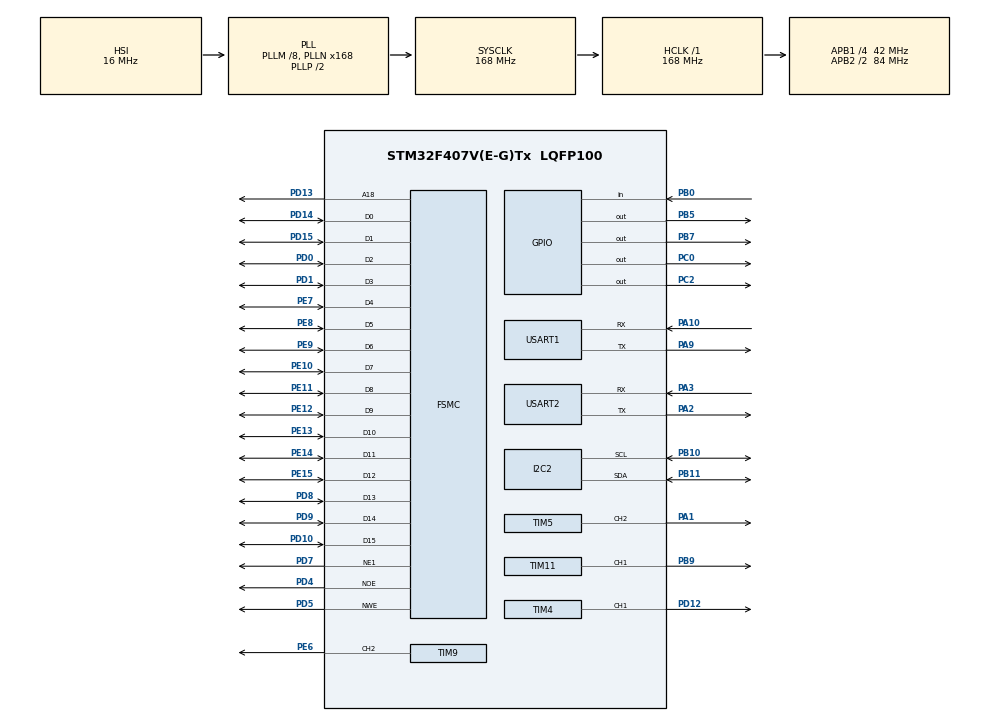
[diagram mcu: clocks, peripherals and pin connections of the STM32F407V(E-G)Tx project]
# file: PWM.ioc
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Dma.Request0=USART2_RX
Dma.Request1=TIM4_CH1
Dma.TIM4_CH1.1.Direction=DMA_MEMORY_TO_PERIPH
Dma.TIM4_CH1.1.FIFOMode=DMA_FIFOMODE_DISABLE
Dma.TIM4_CH1.1.Instance=DMA1_Stream0
Dma.TIM4_CH1.1.MemDataAlignment=DMA_MDATAALIGN_HALFWORD
Dma.TIM4_CH1.1.MemInc=DMA_MINC_ENABLE
Dma.TIM4_CH1.1.Mode=DMA_NORMAL
Dma.TIM4_CH1.1.PeriphDataAlignment=DMA_PDATAALIGN_HALFWORD
Dma.TIM4_CH1.1.PeriphInc=DMA_PINC_DISABLE
Dma.TIM4_CH1.1.Priority=DMA_PRIORITY_MEDIUM
Dma.USART2_RX.0.Direction=DMA_PERIPH_TO_MEMORY
Dma.USART2_RX.0.FIFOMode=DMA_FIFOMODE_DISABLE
Dma.USART2_RX.0.Instance=DMA1_Stream5
Dma.USART2_RX.0.MemDataAlignment=DMA_MDATAALIGN_BYTE
Dma.USART2_RX.0.MemInc=DMA_MINC_ENABLE
Dma.USART2_RX.0.Mode=DMA_NORMAL
Dma.USART2_RX.0.PeriphDataAlignment=DMA_PDATAALIGN_BYTE
Dma.USART2_RX.0.PeriphInc=DMA_PINC_DISABLE
Dma.USART2_RX.0.Priority=DMA_PRIORITY_MEDIUM
FSMC.AddressSetupTime1=2
FSMC.BusTurnAroundDuration1=10
FSMC.DataSetupTime1=10
FSMC.ExtendedAddressSetupTime1=1
FSMC.ExtendedBusTurnAroundDuration1=2
FSMC.ExtendedDataSetupTime1=1
FSMC.ExtendedMode1=FSMC_EXTENDED_MODE_ENABLE
Mcu.Family=STM32F4
Mcu.Name=STM32F407V(E-G)Tx
Mcu.Package=LQFP100
NVIC.DMA1_Stream0_IRQn=true\:0\:0\:false\:false\:true\:false\:true\:true
NVIC.DMA1_Stream5_IRQn=true\:0\:0\:false\:false\:true\:false\:true\:true
NVIC.PriorityGroup=NVIC_PRIORITYGROUP_4
NVIC.TIM2_IRQn=true\:11\:0\:true\:false\:true\:true\:true\:true
NVIC.TIM3_IRQn=true\:15\:0\:true\:false\:true\:true\:true\:true
NVIC.TIM4_IRQn=true\:3\:0\:true\:false\:true\:true\:true\:true
NVIC.TIM8_BRK_TIM12_IRQn=true\:7\:0\:true\:false\:true\:true\:true\:true
NVIC.USART2_IRQn=true\:0\:0\:true\:false\:true\:true\:true\:true
PA1.Signal=S_TIM5_CH2
PA10.Mode=Asynchronous
PA10.Signal=USART1_RX
PA13.Mode=Serial_Wire
PA13.Signal=SYS_JTMS-SWDIO
PA14.Mode=Serial_Wire
PA14.Signal=SYS_JTCK-SWCLK
PA2.Mode=Asynchronous
PA2.Signal=USART2_TX
PA3.Mode=Asynchronous
PA3.Signal=USART2_RX
PA9.Mode=Asynchronous
PA9.Signal=USART1_TX
PB0.GPIO_PuPd=GPIO_PULLDOWN
PB0.Signal=GPIO_Input
PB10.Mode=I2C
PB10.Signal=I2C2_SCL
PB11.Mode=I2C
PB11.Signal=I2C2_SDA
PB5.GPIO_ModeDefaultOutputPP=GPIO_MODE_OUTPUT_PP
PB5.GPIO_PuPd=GPIO_PULLDOWN
PB5.PinState=GPIO_PIN_RESET
PB5.Signal=GPIO_Output
PB7.GPIO_ModeDefaultOutputPP=GPIO_MODE_OUTPUT_PP
PB7.GPIO_PuPd=GPIO_PULLUP
PB7.PinState=GPIO_PIN_SET
PB7.Signal=GPIO_Output
PB9.Signal=S_TIM11_CH1
PC0.GPIO_PuPd=GPIO_PULLUP
PC0.PinState=GPIO_PIN_SET
PC0.Signal=GPIO_Output
PC14-OSC32_IN.Mode=LSE-External-Oscillator
PC14-OSC32_IN.Signal=RCC_OSC32_IN
PC15-OSC32_OUT.Mode=LSE-External-Oscillator
PC15-OSC32_OUT.Signal=RCC_OSC32_OUT
PC2.GPIO_PuPd=GPIO_PULLDOWN
PC2.PinState=GPIO_PIN_RESET
PC2.Signal=GPIO_Output
PD0.Mode=16b-d1
PD0.Signal=FSMC_D2
PD1.Mode=16b-d1
PD1.Signal=FSMC_D3
PD10.Mode=16b-d1
PD10.Signal=FSMC_D15
PD12.Signal=S_TIM4_CH1
PD13.Mode=A18_1
PD13.Signal=FSMC_A18
PD14.Mode=16b-d1
PD14.Signal=FSMC_D0
PD15.Mode=16b-d1
PD15.Signal=FSMC_D1
PD4.Mode=Lcd1
PD4.Signal=FSMC_NOE
PD5.Mode=Lcd1
PD5.Signal=FSMC_NWE
PD7.Mode=NorPsramChipSelect1_1
PD7.Signal=FSMC_NE1
PD8.Mode=16b-d1
PD8.Signal=FSMC_D13
PD9.Mode=16b-d1
PD9.Signal=FSMC_D14
PE10.Mode=16b-d1
PE10.Signal=FSMC_D7
PE11.Mode=16b-d1
PE11.Signal=FSMC_D8
PE12.Mode=16b-d1
PE12.Signal=FSMC_D9
PE13.Mode=16b-d1
PE13.Signal=FSMC_D10
PE14.Mode=16b-d1
PE14.Signal=FSMC_D11
PE15.Mode=16b-d1
PE15.Signal=FSMC_D12
PE6.Signal=S_TIM9_CH2
PE7.Mode=16b-d1
PE7.Signal=FSMC_D4
PE8.Mode=16b-d1
PE8.Signal=FSMC_D5
PE9.Mode=16b-d1
PE9.Signal=FSMC_D6
PH0-OSC_IN.Mode=HSE-External-Oscillator
PH0-OSC_IN.Signal=RCC_OSC_IN
PH1-OSC_OUT.Mode=HSE-External-Oscillator
PH1-OSC_OUT.Signal=RCC_OSC_OUT
ProjectManager.HeapSize=0x2000
ProjectManager.StackSize=0x2000
ProjectManager.TargetToolchain=MDK-ARM V5
RCC.48MHZClocksFreq_Value=84000000
RCC.AHBFreq_Value=168000000
RCC.APB1CLKDivider=RCC_HCLK_DIV4
RCC.APB1Freq_Value=42000000
RCC.APB1TimFreq_Value=84000000
RCC.APB2CLKDivider=RCC_HCLK_DIV2
RCC.APB2Freq_Value=84000000
RCC.APB2TimFreq_Value=168000000
RCC.CortexFreq_Value=168000000
RCC.HCLKFreq_Value=168000000
RCC.HSE_VALUE=25000000
RCC.HSI_VALUE=16000000
RCC.PLLM=8
RCC.PLLN=168
RCC.RCC_RTC_Clock_Source=RCC_RTCCLKSOURCE_LSE
RCC.RCC_RTC_Clock_SourceVirtual=RCC_RTCCLKSOURCE_LSE
RCC.SYSCLKFreq_VALUE=168000000
RCC.SYSCLKSource=RCC_SYSCLKSOURCE_PLLCLK
RCC.VCOOutputFreq_Value=336000000
RTC.Date=29
RTC.Hours=18
RTC.Minutes=30
RTC.Month=RTC_MONTH_MAY
RTC.WakeUpClock=RTC_WAKEUPCLOCK_CK_SPRE_16BITS
RTC.WakeUpCounter=0
RTC.WeekDay=RTC_WEEKDAY_WEDNESDAY
RTC.Year=24
SH.S_TIM11_CH1.0=TIM11_CH1,PWM Generation1 CH1
SH.S_TIM4_CH1.0=TIM4_CH1,PWM Generation1 CH1
SH.S_TIM5_CH2.0=TIM5_CH2,PWM Generation2 CH2
SH.S_TIM9_CH2.0=TIM9_CH2,PWM Generation2 CH2
STMicroelectronics.X-CUBE-AI.9.0.0.ActivationBufferSizeList=3144,384
STMicroelectronics.X-CUBE-AI.9.0.0.ActivationBuffers=pool0;pool0
STMicroelectronics.X-CUBE-AI.9.0.0.ActivationNames=pool0
STMicroelectronics.X-CUBE-AI.9.0.0.ActivationSizes=AI_ROOM_TEMP_RNN_DATA_ACTIVATION_1_SIZE
STMicroelectronics.X-CUBE-AI.9.0.0.HeapSize=0x2000
STMicroelectronics.X-CUBE-AI.9.0.0.InternalRamActivationBufferMaxSize=AI_ROOM_TEMP_RNN_DATA_ACTIVATIONS_SIZE
STMicroelectronics.X-CUBE-AI.9.0.0.LatestDirectoryUsed-2766ed68bd8e77a4b824c04b8151590adfcf11e8d6b5217b8dbd189ffd58050b=D\:\\liulanqi\\Ultra_Lamp-main-new-ai\\Ultra_Lamp-main\\RNN_FCN
STMicroelectronics.X-CUBE-AI.9.0.0.LatestDirectoryUsed-634e3ef301577cb41383da8e3b17dcd20b254018441bf1c846feb5c8d6b5a3d7=D\:\\liulanqi\\Ultra_Lamp-main-new-ai\\Ultra_Lamp-main\\RNN_FCN
STMicroelectronics.X-CUBE-AI.9.0.0.LatestDirectoryUsed-6783a81e1f878c7d6ea845a6b117d8591ffce4769273c66c17bd6681123e7d27=D\:\\STM32_Competition\\RNN_timeseq
STMicroelectronics.X-CUBE-AI.9.0.0.LatestDirectoryUsed-7190bd1ebf197d09b7aac6342039f018f5e7ceadc8a1d23ce0fa9c01eb32230d=D\:\\liulanqi\\Ultra_Lamp-main-new-ai\\Ultra_Lamp-main\\RNN_FCN
STMicroelectronics.X-CUBE-AI.9.0.0.LatestDirectoryUsed-8f62428d3de46d6f0630f3d4f86d2471cdb80f5f4a5364befe9845413bc6b69d=D\:\\liulanqi\\Ultra_Lamp-main-new-ai\\Ultra_Lamp-main\\RNN_FCN
STMicroelectronics.X-CUBE-AI.9.0.0.LatestDirectoryUsed-bbea9bde0c4ee5d2e236ffb57182c5e5f499c89fc56b493e6ed04252d272f4a2=D\:\\liulanqi\\Ultra_Lamp-main-new-ai\\Ultra_Lamp-main\\RNN_FCN
STMicroelectronics.X-CUBE-AI.9.0.0.MaximumNumberOfInputLayer=1
STMicroelectronics.X-CUBE-AI.9.0.0.MaximumNumberOfOutputLayer=1
STMicroelectronics.X-CUBE-AI.9.0.0.MaximumSizeOfInputLayer=1
STMicroelectronics.X-CUBE-AI.9.0.0.MaximumSizeOfOutputLayer=1
STMicroelectronics.X-CUBE-AI.9.0.0.ModelActualCompression-2766ed68bd8e77a4b824c04b8151590adfcf11e8d6b5217b8dbd189ffd58050b=0.0
STMicroelectronics.X-CUBE-AI.9.0.0.ModelActualCompression-634e3ef301577cb41383da8e3b17dcd20b254018441bf1c846feb5c8d6b5a3d7=0.0
STMicroelectronics.X-CUBE-AI.9.0.0.ModelActualCompression-6783a81e1f878c7d6ea845a6b117d8591ffce4769273c66c17bd6681123e7d27=0.0
STMicroelectronics.X-CUBE-AI.9.0.0.ModelActualCompression-7190bd1ebf197d09b7aac6342039f018f5e7ceadc8a1d23ce0fa9c01eb32230d=0.0
STMicroelectronics.X-CUBE-AI.9.0.0.ModelActualCompression-8f62428d3de46d6f0630f3d4f86d2471cdb80f5f4a5364befe9845413bc6b69d=0.0
STMicroelectronics.X-CUBE-AI.9.0.0.ModelActualCompression-bbea9bde0c4ee5d2e236ffb57182c5e5f499c89fc56b493e6ed04252d272f4a2=0.0
STMicroelectronics.X-CUBE-AI.9.0.0.ModelCompression-2766ed68bd8e77a4b824c04b8151590adfcf11e8d6b5217b8dbd189ffd58050b=None
STMicroelectronics.X-CUBE-AI.9.0.0.ModelCompression-634e3ef301577cb41383da8e3b17dcd20b254018441bf1c846feb5c8d6b5a3d7=None
STMicroelectronics.X-CUBE-AI.9.0.0.ModelCompression-6783a81e1f878c7d6ea845a6b117d8591ffce4769273c66c17bd6681123e7d27=None
STMicroelectronics.X-CUBE-AI.9.0.0.ModelCompression-7190bd1ebf197d09b7aac6342039f018f5e7ceadc8a1d23ce0fa9c01eb32230d=None
STMicroelectronics.X-CUBE-AI.9.0.0.ModelCompression-8f62428d3de46d6f0630f3d4f86d2471cdb80f5f4a5364befe9845413bc6b69d=None
STMicroelectronics.X-CUBE-AI.9.0.0.ModelCompression-bbea9bde0c4ee5d2e236ffb57182c5e5f499c89fc56b493e6ed04252d272f4a2=None
STMicroelectronics.X-CUBE-AI.9.0.0.ModelFlashOccupation-2766ed68bd8e77a4b824c04b8151590adfcf11e8d6b5217b8dbd189ffd58050b=60488
STMicroelectronics.X-CUBE-AI.9.0.0.ModelFlashOccupation-634e3ef301577cb41383da8e3b17dcd20b254018441bf1c846feb5c8d6b5a3d7=13384
STMicroelectronics.X-CUBE-AI.9.0.0.ModelFlashOccupation-6783a81e1f878c7d6ea845a6b117d8591ffce4769273c66c17bd6681123e7d27=24144
STMicroelectronics.X-CUBE-AI.9.0.0.ModelFlashOccupation-7190bd1ebf197d09b7aac6342039f018f5e7ceadc8a1d23ce0fa9c01eb32230d=13384
STMicroelectronics.X-CUBE-AI.9.0.0.ModelFlashOccupation-8f62428d3de46d6f0630f3d4f86d2471cdb80f5f4a5364befe9845413bc6b69d=13384
STMicroelectronics.X-CUBE-AI.9.0.0.ModelFlashOccupation-bbea9bde0c4ee5d2e236ffb57182c5e5f499c89fc56b493e6ed04252d272f4a2=27495
STMicroelectronics.X-CUBE-AI.9.0.0.ModelHashList=2766ed68bd8e77a4b824c04b8151590adfcf11e8d6b5217b8dbd189ffd58050b
STMicroelectronics.X-CUBE-AI.9.0.0.ModelKind-2766ed68bd8e77a4b824c04b8151590adfcf11e8d6b5217b8dbd189ffd58050b=TFLITE
STMicroelectronics.X-CUBE-AI.9.0.0.ModelKind-634e3ef301577cb41383da8e3b17dcd20b254018441bf1c846feb5c8d6b5a3d7=TFLITE
STMicroelectronics.X-CUBE-AI.9.0.0.ModelKind-6783a81e1f878c7d6ea845a6b117d8591ffce4769273c66c17bd6681123e7d27=TFLITE
STMicroelectronics.X-CUBE-AI.9.0.0.ModelKind-7190bd1ebf197d09b7aac6342039f018f5e7ceadc8a1d23ce0fa9c01eb32230d=TFLITE
STMicroelectronics.X-CUBE-AI.9.0.0.ModelKind-8f62428d3de46d6f0630f3d4f86d2471cdb80f5f4a5364befe9845413bc6b69d=TFLITE
STMicroelectronics.X-CUBE-AI.9.0.0.ModelKind-bbea9bde0c4ee5d2e236ffb57182c5e5f499c89fc56b493e6ed04252d272f4a2=TFLITE
STMicroelectronics.X-CUBE-AI.9.0.0.ModelMacc-2766ed68bd8e77a4b824c04b8151590adfcf11e8d6b5217b8dbd189ffd58050b=89701
STMicroelectronics.X-CUBE-AI.9.0.0.ModelMacc-634e3ef301577cb41383da8e3b17dcd20b254018441bf1c846feb5c8d6b5a3d7=3712
STMicroelectronics.X-CUBE-AI.9.0.0.ModelMacc-6783a81e1f878c7d6ea845a6b117d8591ffce4769273c66c17bd6681123e7d27=3488
STMicroelectronics.X-CUBE-AI.9.0.0.ModelMacc-7190bd1ebf197d09b7aac6342039f018f5e7ceadc8a1d23ce0fa9c01eb32230d=3712
STMicroelectronics.X-CUBE-AI.9.0.0.ModelMacc-8f62428d3de46d6f0630f3d4f86d2471cdb80f5f4a5364befe9845413bc6b69d=3712
STMicroelectronics.X-CUBE-AI.9.0.0.ModelMacc-bbea9bde0c4ee5d2e236ffb57182c5e5f499c89fc56b493e6ed04252d272f4a2=3712
STMicroelectronics.X-CUBE-AI.9.0.0.ModelName-2766ed68bd8e77a4b824c04b8151590adfcf11e8d6b5217b8dbd189ffd58050b=room_temp_rnn
STMicroelectronics.X-CUBE-AI.9.0.0.ModelName-634e3ef301577cb41383da8e3b17dcd20b254018441bf1c846feb5c8d6b5a3d7=room_state_fcn
STMicroelectronics.X-CUBE-AI.9.0.0.ModelName-6783a81e1f878c7d6ea845a6b117d8591ffce4769273c66c17bd6681123e7d27=room_state_fcn
STMicroelectronics.X-CUBE-AI.9.0.0.ModelName-7190bd1ebf197d09b7aac6342039f018f5e7ceadc8a1d23ce0fa9c01eb32230d=room_state_fcn
STMicroelectronics.X-CUBE-AI.9.0.0.ModelName-8f62428d3de46d6f0630f3d4f86d2471cdb80f5f4a5364befe9845413bc6b69d=room_state_fcn
STMicroelectronics.X-CUBE-AI.9.0.0.ModelName-bbea9bde0c4ee5d2e236ffb57182c5e5f499c89fc56b493e6ed04252d272f4a2=room_state_fcn
STMicroelectronics.X-CUBE-AI.9.0.0.ModelNameList=room_temp_rnn
STMicroelectronics.X-CUBE-AI.9.0.0.ModelRamOccupation-2766ed68bd8e77a4b824c04b8151590adfcf11e8d6b5217b8dbd189ffd58050b=3144
STMicroelectronics.X-CUBE-AI.9.0.0.ModelRamOccupation-634e3ef301577cb41383da8e3b17dcd20b254018441bf1c846feb5c8d6b5a3d7=384
STMicroelectronics.X-CUBE-AI.9.0.0.ModelRamOccupation-6783a81e1f878c7d6ea845a6b117d8591ffce4769273c66c17bd6681123e7d27=2864
STMicroelectronics.X-CUBE-AI.9.0.0.ModelRamOccupation-7190bd1ebf197d09b7aac6342039f018f5e7ceadc8a1d23ce0fa9c01eb32230d=384
STMicroelectronics.X-CUBE-AI.9.0.0.ModelRamOccupation-8f62428d3de46d6f0630f3d4f86d2471cdb80f5f4a5364befe9845413bc6b69d=384
STMicroelectronics.X-CUBE-AI.9.0.0.ModelRamOccupation-bbea9bde0c4ee5d2e236ffb57182c5e5f499c89fc56b493e6ed04252d272f4a2=2888
STMicroelectronics.X-CUBE-AI.9.0.0.ModelStructureFile-2766ed68bd8e77a4b824c04b8151590adfcf11e8d6b5217b8dbd189ffd58050b=D\:\\liulanqi\\Ultra_Lamp-main-new-ai\\Ultra_Lamp-main\\RNN_FCN\\room_temp_LSTM.tflite
STMicroelectronics.X-CUBE-AI.9.0.0.ModelStructureFile-634e3ef301577cb41383da8e3b17dcd20b254018441bf1c846feb5c8d6b5a3d7=D\:\\liulanqi\\Ultra_Lamp-main-new-ai\\Ultra_Lamp-main\\RNN_FCN\\Room_Occupancy.tflite
STMicroelectronics.X-CUBE-AI.9.0.0.ModelStructureFile-6783a81e1f878c7d6ea845a6b117d8591ffce4769273c66c17bd6681123e7d27=D\:\\STM32_Competition\\RNN_timeseq\\Room_Occupancy.tflite
STMicroelectronics.X-CUBE-AI.9.0.0.ModelStructureFile-7190bd1ebf197d09b7aac6342039f018f5e7ceadc8a1d23ce0fa9c01eb32230d=D\:\\liulanqi\\Ultra_Lamp-main-new-ai\\Ultra_Lamp-main\\RNN_FCN\\Room_Occupancy.tflite
STMicroelectronics.X-CUBE-AI.9.0.0.ModelStructureFile-8f62428d3de46d6f0630f3d4f86d2471cdb80f5f4a5364befe9845413bc6b69d=D\:\\liulanqi\\Ultra_Lamp-main-new-ai\\Ultra_Lamp-main\\RNN_FCN\\Room_Occupancy.tflite
STMicroelectronics.X-CUBE-AI.9.0.0.ModelStructureFile-bbea9bde0c4ee5d2e236ffb57182c5e5f499c89fc56b493e6ed04252d272f4a2=D\:\\liulanqi\\Ultra_Lamp-main-new-ai\\Ultra_Lamp-main\\RNN_FCN\\Room_Occupancy.tflite
STMicroelectronics.X-CUBE-AI.9.0.0.ModelType-2766ed68bd8e77a4b824c04b8151590adfcf11e8d6b5217b8dbd189ffd58050b=STM32Cube.AI MCU runtime
STMicroelectronics.X-CUBE-AI.9.0.0.ModelType-634e3ef301577cb41383da8e3b17dcd20b254018441bf1c846feb5c8d6b5a3d7=STM32Cube.AI MCU runtime
STMicroelectronics.X-CUBE-AI.9.0.0.ModelType-6783a81e1f878c7d6ea845a6b117d8591ffce4769273c66c17bd6681123e7d27=STM32Cube.AI MCU runtime
STMicroelectronics.X-CUBE-AI.9.0.0.ModelType-7190bd1ebf197d09b7aac6342039f018f5e7ceadc8a1d23ce0fa9c01eb32230d=STM32Cube.AI MCU runtime
STMicroelectronics.X-CUBE-AI.9.0.0.ModelType-8f62428d3de46d6f0630f3d4f86d2471cdb80f5f4a5364befe9845413bc6b69d=STM32Cube.AI MCU runtime
STMicroelectronics.X-CUBE-AI.9.0.0.ModelType-bbea9bde0c4ee5d2e236ffb57182c5e5f499c89fc56b493e6ed04252d272f4a2=STM32Cube.AI MCU runtime
STMicroelectronics.X-CUBE-AI.9.0.0.ReadyForCodeGeneration=true
STMicroelectronics.X-CUBE-AI.9.0.0.StackSize=0x2000
STMicroelectronics.X-CUBE-AI.9.0.0.WorkingBufferStartAddrList=0xFFFFFFFF
STMicroelectronics.X-CUBE-AI.9.0.0.XAaCUBEAaAICcArtificialOoIntelligenceJjCore=true
STMicroelectronics.X-CUBE-AI.9.0.0.copyWeightToRam=false
STMicroelectronics.X-CUBE-AI.9.0.0.copyWeightToRam-2766ed68bd8e77a4b824c04b8151590adfcf11e8d6b5217b8dbd189ffd58050b=false
STMicroelectronics.X-CUBE-AI.9.0.0.copyWeightToRam-634e3ef301577cb41383da8e3b17dcd20b254018441bf1c846feb5c8d6b5a3d7=false
STMicroelectronics.X-CUBE-AI.9.0.0.copyWeightToRam-6783a81e1f878c7d6ea845a6b117d8591ffce4769273c66c17bd6681123e7d27=false
STMicroelectronics.X-CUBE-AI.9.0.0.copyWeightToRam-7190bd1ebf197d09b7aac6342039f018f5e7ceadc8a1d23ce0fa9c01eb32230d=false
STMicroelectronics.X-CUBE-AI.9.0.0.copyWeightToRam-8f62428d3de46d6f0630f3d4f86d2471cdb80f5f4a5364befe9845413bc6b69d=false
STMicroelectronics.X-CUBE-AI.9.0.0.copyWeightToRam-bbea9bde0c4ee5d2e236ffb57182c5e5f499c89fc56b493e6ed04252d272f4a2=false
STMicroelectronics.X-CUBE-AI.9.0.0.customLayerConfigEnabled=false
STMicroelectronics.X-CUBE-AI.9.0.0.customLayerConfigEnabled-2766ed68bd8e77a4b824c04b8151590adfcf11e8d6b5217b8dbd189ffd58050b=false
STMicroelectronics.X-CUBE-AI.9.0.0.customLayerConfigEnabled-634e3ef301577cb41383da8e3b17dcd20b254018441bf1c846feb5c8d6b5a3d7=false
STMicroelectronics.X-CUBE-AI.9.0.0.customLayerConfigEnabled-6783a81e1f878c7d6ea845a6b117d8591ffce4769273c66c17bd6681123e7d27=false
STMicroelectronics.X-CUBE-AI.9.0.0.customLayerConfigEnabled-7190bd1ebf197d09b7aac6342039f018f5e7ceadc8a1d23ce0fa9c01eb32230d=false
STMicroelectronics.X-CUBE-AI.9.0.0.customLayerConfigEnabled-8f62428d3de46d6f0630f3d4f86d2471cdb80f5f4a5364befe9845413bc6b69d=false
STMicroelectronics.X-CUBE-AI.9.0.0.customLayerConfigEnabled-bbea9bde0c4ee5d2e236ffb57182c5e5f499c89fc56b493e6ed04252d272f4a2=false
STMicroelectronics.X-CUBE-AI.9.0.0.noOnnxIoTranspose=false
STMicroelectronics.X-CUBE-AI.9.0.0.noOnnxIoTranspose-2766ed68bd8e77a4b824c04b8151590adfcf11e8d6b5217b8dbd189ffd58050b=false
STMicroelectronics.X-CUBE-AI.9.0.0.noOnnxIoTranspose-634e3ef301577cb41383da8e3b17dcd20b254018441bf1c846feb5c8d6b5a3d7=false
STMicroelectronics.X-CUBE-AI.9.0.0.noOnnxIoTranspose-6783a81e1f878c7d6ea845a6b117d8591ffce4769273c66c17bd6681123e7d27=false
STMicroelectronics.X-CUBE-AI.9.0.0.noOnnxIoTranspose-7190bd1ebf197d09b7aac6342039f018f5e7ceadc8a1d23ce0fa9c01eb32230d=false
STMicroelectronics.X-CUBE-AI.9.0.0.noOnnxIoTranspose-8f62428d3de46d6f0630f3d4f86d2471cdb80f5f4a5364befe9845413bc6b69d=false
STMicroelectronics.X-CUBE-AI.9.0.0.noOnnxIoTranspose-bbea9bde0c4ee5d2e236ffb57182c5e5f499c89fc56b493e6ed04252d272f4a2=false
STMicroelectronics.X-CUBE-AI.9.0.0.useInputAllocation=true
STMicroelectronics.X-CUBE-AI.9.0.0.useInputAllocation-2766ed68bd8e77a4b824c04b8151590adfcf11e8d6b5217b8dbd189ffd58050b=true
STMicroelectronics.X-CUBE-AI.9.0.0.useInputAllocation-634e3ef301577cb41383da8e3b17dcd20b254018441bf1c846feb5c8d6b5a3d7=true
STMicroelectronics.X-CUBE-AI.9.0.0.useInputAllocation-6783a81e1f878c7d6ea845a6b117d8591ffce4769273c66c17bd6681123e7d27=true
STMicroelectronics.X-CUBE-AI.9.0.0.useInputAllocation-7190bd1ebf197d09b7aac6342039f018f5e7ceadc8a1d23ce0fa9c01eb32230d=true
STMicroelectronics.X-CUBE-AI.9.0.0.useInputAllocation-8f62428d3de46d6f0630f3d4f86d2471cdb80f5f4a5364befe9845413bc6b69d=true
STMicroelectronics.X-CUBE-AI.9.0.0.useInputAllocation-bbea9bde0c4ee5d2e236ffb57182c5e5f499c89fc56b493e6ed04252d272f4a2=true
STMicroelectronics.X-CUBE-AI.9.0.0.useOutputAllocation=true
STMicroelectronics.X-CUBE-AI.9.0.0.useOutputAllocation-2766ed68bd8e77a4b824c04b8151590adfcf11e8d6b5217b8dbd189ffd58050b=true
STMicroelectronics.X-CUBE-AI.9.0.0.useOutputAllocation-634e3ef301577cb41383da8e3b17dcd20b254018441bf1c846feb5c8d6b5a3d7=true
STMicroelectronics.X-CUBE-AI.9.0.0.useOutputAllocation-6783a81e1f878c7d6ea845a6b117d8591ffce4769273c66c17bd6681123e7d27=true
STMicroelectronics.X-CUBE-AI.9.0.0.useOutputAllocation-7190bd1ebf197d09b7aac6342039f018f5e7ceadc8a1d23ce0fa9c01eb32230d=true
STMicroelectronics.X-CUBE-AI.9.0.0.useOutputAllocation-8f62428d3de46d6f0630f3d4f86d2471cdb80f5f4a5364befe9845413bc6b69d=true
STMicroelectronics.X-CUBE-AI.9.0.0.useOutputAllocation-bbea9bde0c4ee5d2e236ffb57182c5e5f499c89fc56b493e6ed04252d272f4a2=true
TIM11.Channel=TIM_CHANNEL_1
TIM11.Period=10000-1
TIM11.Prescaler=336-1
TIM11.Pulse=750-1
TIM12.Period=10-1
TIM12.Prescaler=8400-1
TIM2.AutoReloadPreload=TIM_AUTORELOAD_PRELOAD_ENABLE
TIM2.Period=10000-1
TIM2.Prescaler=168-1
TIM3.Period=16800-1
TIM3.Prescaler=1000-1
TIM4.Channel-PWM\ Generation1\ CH1=TIM_CHANNEL_1
TIM4.Period=105-1
TIM5.Channel-PWM\ Generation2\ CH2=TIM_CHANNEL_2
TIM5.Period=1000-1
TIM5.Prescaler=84-1
TIM9.Channel-PWM\ Generation2\ CH2=TIM_CHANNEL_2
TIM9.Period=60000-1
TIM9.Prescaler=56-1
TIM9.Pulse-PWM\ Generation2\ CH2=750-1
USART1.VirtualMode=VM_ASYNC
USART2.VirtualMode=VM_ASYNC
VP_RTC_VS_RTC_Activate.Mode=RTC_Enabled
VP_RTC_VS_RTC_Calendar.Mode=RTC_Calendar
VP_RTC_VS_RTC_WakeUp_intern.Mode=WakeUp
VP_STMicroelectronics.X-CUBE-AI_VS_ArtificialOoIntelligenceJjXAaCUBEAaAI_9.0.0.Mode=ArtificialOoIntelligenceJjXAaCUBEAaAI
VP_TIM11_VS_ClockSourceINT.Mode=Enable_Timer
VP_TIM12_VS_ClockSourceINT.Mode=Internal
VP_TIM2_VS_ClockSourceINT.Mode=Internal
VP_TIM3_VS_ClockSourceINT.Mode=Internal
VP_TIM4_VS_ClockSourceINT.Mode=Internal
VP_TIM5_VS_ClockSourceINT.Mode=Internal
board=custom

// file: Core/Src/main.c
/* USER CODE BEGIN Header */
/**
  ******************************************************************************
  * @file           : main.c
  * @brief          : Main program body
  ******************************************************************************
  * @attention
  *
  * Copyright (c) 2024 STMicroelectronics.
  * All rights reserved.
  *
  * This software is licensed under terms that can be found in the LICENSE file
  * in the root directory of this software component.
  * If no LICENSE file comes with this software, it is provided AS-IS.
  *
  ******************************************************************************
  */
/* USER CODE END Header */
#include "main.h"
#include "dma.h"
#include "i2c.h"
#include "rtc.h"
#include "tim.h"
#include "usart.h"
#include "gpio.h"
#include "fsmc.h"

/* USER CODE BEGIN Includes */
#if 0
#include "room_temp_rnn.h"//调用网络推理所需的各种函数
#include "room_temp_rnn_data.h"//包含网络权重参数
#endif
#if 0
#include "room_state_fcn.h"//调用网络推理所需的各种函数
#include "room_state_fcn_data.h"//包含网络权重参数
#include "ai_platform.h"//包含各种定义和宏
#endif

#include "lcd.h"
#include "touch.h"
#include "lvgl.h"
#include "lv_port_disp.h"
#include "lv_port_indev.h"
#include "gui_guider.h"
#include "events_init.h"

#include "pid.h"
#include "AHT10.h"
#include "ws2812.h"
#include "bh1750.h"
#include "sgp30.h"
#include "Kalman.h"
#include "rnn.h"
#include "fcn.h"
#include "work_detector.h"
#include "math.h"
#include "stdlib.h"

RTC_TimeTypeDef time;
RTC_DateTypeDef date;

char now_time[9] = {0};

int* loss_;
uint8_t rx_buf[11];
int target_=2000;

int count=0,count_led=0,count_ai = 0;
int a=0;

float temp=26,humi=50,lux=500;

static float pre_temp = 26;

uint16_t eCO2=65535,TVOC=401;
uint16_t base_eCO2,base_TVOC;

uint16_t num_of_led;
uint8_t bright = 128;
uint8_t check_light = 1;
bool flag_light = 1;

static float env_score = 60;

Kalman* kalman_temp;
Kalman* kalman_humi;
Kalman* kalman_co2;
Kalman* kalman_lux;
Kalman* kalman_pre_temp;
Kalman* kalman_score;

int para_work_max = 0;//可调参数
int para_game_max = 0;
int para_game_turn = 0;
int para_mode = 0;//

int sum_work = 0;
int sum_game = 0;
int sum_water = 0;
int delay = 0;

int now_work=0;
int now_game=0;
int now_drink=0;
int all_work=0;
int all_book=0;
int all_game=0;
int all_compu=0;
int all_mouse=0;
int all_water=0;

float tqdm_work = 0;
float tqdm_game = 0;
float tqdm_water = 100;

int over_game=0;
int over_work=0;
int need_drink=0;

float visual_rnn[6] = {17.0,16.0,15.0,17.0,19.0,26.0};
float visual_fcn[4] = {20,40,400,500};

lv_ui guider_ui;

int screens = 0;
int chat = 0;

int light_mode = 1;//0:手动，1：自动
int light_bright = 30;

int t=3;//main_time

/* USER CODE END Includes */

void SystemClock_Config(void);
/* USER CODE BEGIN PFP */

#if 0//rnn

ai_handle rnn=AI_HANDLE_NULL;
static float rnnInData[AI_ROOM_TEMP_RNN_IN_1_SIZE]={17.0,16.0,15.0,17.0,19.0,26.0};
static float rnnOutData[AI_ROOM_TEMP_RNN_OUT_1_SIZE];
ai_u8 rnn_activations[AI_ROOM_TEMP_RNN_DATA_ACTIVATIONS_SIZE];

ai_buffer * rnn_input;
ai_buffer * rnn_output;

static void AI_Init_rnn(void)
{
  ai_error err;
  const ai_handle rnn_act_addr[] = { rnn_activations };
  err = ai_room_temp_rnn_create_and_init(&rnn, rnn_act_addr, NULL);
  if (err.type != AI_ERROR_NONE) {
    printf("ai_rnn_create error - type=%d code=%d\r\n", err.type, err.code);
    Error_Handler();
  }
	else
	{
		printf("RNN AI init success!\r\n");
	}
  rnn_input = ai_room_temp_rnn_inputs_get(rnn, NULL);
  rnn_output = ai_room_temp_rnn_outputs_get(rnn, NULL);
}

static void AI_Run_rnn(float *pIn, float *pOut)
{
	char logStr[100];
	int count = 0;
	float max = 0;
  ai_i32 batch;
  ai_error err;

  rnn_input[0].data = AI_HANDLE_PTR(pIn);
  rnn_output[0].data = AI_HANDLE_PTR(pOut);

  batch = ai_room_temp_rnn_run(rnn, rnn_input, rnn_output);
  if (batch != 1) {
    err = ai_room_temp_rnn_get_error(rnn);
    printf("AI ai_rnn_run error - type=%d code=%d\r\n", err.type, err.code);
    Error_Handler();
  }
	printf("rnn_result=%8.6f",rnnOutData[0]);
}
#endif

#if 0//fcn

ai_handle fcn=AI_HANDLE_NULL;
static float fcnInData[AI_ROOM_STATE_FCN_IN_1_SIZE]={20,40,400,500};
static float fcnOutData[AI_ROOM_STATE_FCN_OUT_1_SIZE];
ai_u8 fcn_activations[AI_ROOM_STATE_FCN_DATA_ACTIVATIONS_SIZE];

ai_buffer * fcn_input;
ai_buffer * fcn_output;

static void AI_Init_fcn(void)
{
  ai_error err;
  const ai_handle fcn_act_addr[] = { fcn_activations };
  err = ai_room_state_fcn_create_and_init(&fcn, fcn_act_addr, NULL);
  if (err.type != AI_ERROR_NONE) {
    printf("ai_fcn_create error - type=%d code=%d\r\n", err.type, err.code);
    Error_Handler();
  }
	else
	{
		printf("FCN AI init success!\r\n");
	}
  fcn_input = ai_room_state_fcn_inputs_get(fcn, NULL);
  fcn_output = ai_room_state_fcn_outputs_get(fcn, NULL);
}

static void AI_Run_fcn(float *pIn, float *pOut)
{
	char logStr[100];
	int count = 0;
	float max = 0;
  ai_i32 batch;
  ai_error err;

  fcn_input[0].data = AI_HANDLE_PTR(pIn);
  fcn_output[0].data = AI_HANDLE_PTR(pOut);

  batch = ai_room_state_fcn_run(fcn, fcn_input, fcn_output);
  if (batch != 1) {
    err = ai_room_state_fcn_get_error(fcn);
    printf("AI ai_network_run error - type=%d code=%d\r\n", err.type, err.code);
    Error_Handler();
  }
	printf("fcn_result=%8.6f,%8.6f",fcnOutData[0],fcnOutData[1]);
	env_score = (int)score(fcnOutData[1]);

	if(fcnOutData[0]<fcnOutData[1])
	{
		printf("fcn_result:环境条件好");
	}
	else	if(fcnOutData[0]>=fcnOutData[1])
	{
		printf("fcn_result:环境条件不好");
	}
}
#endif

char* int_to_string(int a)
{
	int length = snprintf(NULL, 0, "%d", a) + 1;
	char* str = (char*)malloc(length*sizeof(char));
  if (str == NULL) {
		free(str);
		return NULL; // 内存分配失败
  }
	sprintf(str,"%d",a);
	return str;
}
char* float_to_string(float a)//?
{
	int length = snprintf(NULL, 0, "%.2f", a) + 1;
	char* str = (char*)malloc(length*sizeof(char));
  if (str == NULL) {
		free(str);
		return NULL; // 内存分配失败
  }
	sprintf(str,"%.2f",a);
	return str;
}

void Run_ai()
{
	visual_rnn[5] = temp;
	AI_Run_rnn(visual_rnn,rnn_to_main());
	visual_fcn[0] = temp;
	visual_fcn[1] = humi;
	visual_fcn[2] = lux;
	visual_fcn[3] = (float)eCO2;
	AI_Run_fcn(visual_fcn,fcn_to_main());
}

float score(float x)//由fcnoutdata[1]生成env_score
{
	return 100.0*(16*(x-0.5)*(x-0.5)*(x-0.5)*(x-0.5)*(x-0.5)+0.5);
}

void measure_init(void)//AHT and BH1750
{
		AHT10_Init();
		BH1750_Init();
		SGP30_Init();
//		RGB_RED(Pixel_NUM);
		HAL_Delay(10);
}
#if 0
//void start_measures(void)
//{
//		//AHT10_Read_predata(&humi,&temp);
//		//HAL_Delay(10);
//		//BH1750_ReadLightIntensity(&lux);
//		//HAL_Delay(10);
//		SGP30_GetBaseline(&base_eCO2,&base_TVOC);
//		HAL_Delay(1);
//		SGP30_GetMeasurement(&eCO2, &TVOC);
//		printf("humi:%f\n temp:%f\n lux:%f\n base_eCO2:%u\n base_TVOC:%u\n eCO2:%u\n TVOC:%u\n",humi,temp,lux,base_eCO2,base_TVOC,eCO2,TVOC);
//}
#endif
#if 0
//void HAL_GPIO_EXTI_Callback(uint16_t GPIO_Pin)//A上升沿触发中断
//{
//	printf("%d\n",bright);
//
//	if(GPIO_Pin==GPIO_PIN_5 && check_light == 1 && flag_light == 1)
//	{
//		if(HAL_GPIO_ReadPin(GPIOB,GPIO_PIN_0)==1)//B为高电平
//		{
//			bright-=10;
//			printf("low\n");
//			if(bright<=10)
//			{
//				printf("lowest\n");
//				bright=11;
//			}
//		}
//		else//B为低电平
//		{
//			bright+=10;
//			printf("high\n");
//			if(bright>=240)
//			{
//				printf("highest\n");
//				bright=239;
//			}
//		}
//		__HAL_TIM_SetCompare(&htim5, TIM_CHANNEL_2, bright*4);
//		RGB_WHITE_Change(Pixel_NUM,bright);
//	}
//	if(GPIO_Pin==GPIO_PIN_6 && flag_light == 1)
//	{
//		check_light = 1 - check_light;
//		printf("turn");
//	}
//	flag_light = 0;
//	HAL_TIM_Base_Start_IT(&htim7);
//}
#endif
void HAL_TIM_PeriodElapsedCallback(TIM_HandleTypeDef* htim){
    if(htim->Instance==TIM2){	//定时器2中断 10ms
			printf("loss_x :%d, loss_y :%d\n",loss_[0],-loss_[1]);//debug
		pid_x(loss_[0]*20);
		pid_y(-loss_[1]*20);
			count++;
			if(count==4)
			{
				HAL_TIM_Base_Stop_IT(&htim2);
				count=0;
			}
    }

		else if(htim->Instance==TIM3){ //定时器3中断 200ms
				//RGB_start();
				if(light_mode == 0)
				{
					RGB_WHITE_Change(Pixel_NUM,(light_bright/100.0)*255);
					__HAL_TIM_SetCompare(&htim5, TIM_CHANNEL_2, (int)(pow(light_bright/100.0,2.2)*1000));
					//printf("b0\n");
				}
				else
				{
					if(light_mode == 1)//auto
					{
						float x = lux;
						float y ;
						if(x>=0 && x<=300)
							y = (7.0/30.0) * x + 30.0;
						else if(x>300)
							y = (-1.0/17.0) * (x-2000.0);

						if(y>=100)
							y=100;
						if(y<=0)
							y=0;

						__HAL_TIM_SetCompare(&htim5, TIM_CHANNEL_2, (int)(pow(y/100.0,2.2)*1000));
						//printf("b1\n");
					}
					else
					{
						__HAL_TIM_SetCompare(&htim5, TIM_CHANNEL_2, 0);
					}
				}
				count_led++;
				if(count_led == 5)
				{
					//printf("env_score: %d\n",(int)env_score);
					//printf("pre_temp: %d\n",(int)pre_temp);
					//printf("%d %d %d\n",guider_ui.screen_main_del,guider_ui.screen_work_setting_del,guider_ui.screen_work_del);
//					printf(float_to_string(10.25));
					if(screens == 0)//important
					{
						sum_work = 0;
						sum_game = 0;
						sum_water = 0;
						delay = 0;
						now_work=0;
						now_game=0;
						now_drink=0;
						all_work=0;
						all_book=0;
						all_game=0;
						all_compu=0;
						all_mouse=0;
						all_water=0;
						tqdm_work = 0;
						tqdm_game = 0;
						tqdm_water = 100;

						char *a = int_to_string((int)env_score);
						char *b = int_to_string((int)pre_temp);
						lv_label_set_text(guider_ui.screen_main_label_envscore, a);//screen_main
						free(a);
						lv_label_set_text(guider_ui.screen_main_label_temp_pre, b);//screen_main
						free(b);
						//printf("s0\n");
//						if(t>0)
//						{
							set_time();
//							t--;
//						}
					}
					else if(screens == 1)
					{
						sum_work = 0;
						sum_game = 0;
						sum_water = 0;
						delay = 0;
						now_work=0;
						now_game=0;
						now_drink=0;
						all_work=0;
						all_book=0;
						all_game=0;
						all_compu=0;
						all_mouse=0;
						all_water=0;
						tqdm_work = 0;
						tqdm_game = 0;
						tqdm_water = 100;
						//printf("s1\n");
					}
					else if(screens == 2)
					{
						char *a = int_to_string((int)env_score);
						char *b = int_to_string((int)pre_temp);
						lv_label_set_text(guider_ui.screen_work_label_envscore, a);//screen_work
						free(a);
						lv_label_set_text(guider_ui.screen_work_label_temp_pre, b);//screen_work
						free(b);
						//printf("s2\n");

					}
					else if(screens == -1)
					{

					}

					//count_led=0;

/*
				if(count_led == 5)
				{
					char* a = "work_detector_stop\n";
					HAL_UART_Transmit(&huart2,(unsigned char*)a,sizeof(a),10000);

					printf(rx_buf);
				}
				*/
				//别删下面这段

					if(eCO2 >60000)
					{
						eCO2 = 400;
					}
//					temp = KalmanFilter(kalman_temp, temp);
//					humi = KalmanFilter(kalman_humi, humi);
//					eCO2 = KalmanFilter(kalman_co2, eCO2);
//					lux = KalmanFilter(kalman_lux, lux);
//					pre_temp = KalmanFilter(kalman_pre_temp, pre_temp);
//					env_score = KalmanFilter(kalman_score, env_score);

					//printf("env_score: %d\n",env_score);
					//printf("pre_temp: %d\n",pre_temp);

					transmit_message((int)temp,(int)humi,eCO2,(int)lux,rnn_to_main()[0],env_score);//important
					//printf("_|");
					pre_temp = rnn_to_main()[0];
					env_score = score(fcn_to_main()[1]);//impor
					BH1750_ReadLightIntensity(&lux);
					//printf("_|");
					//SGP30_GetBaseline(&base_eCO2,&base_TVOC);
					SGP30_GetMeasurement(&eCO2, &TVOC);
//					printf("_|");
					AHT10_Read_predata(&humi, &temp);
					//printf("humi:%f\n temp:%f\n lux:%f\n base_eCO2:%u\n base_TVOC:%u\n eCO2:%u\n TVOC:%u\n",humi,temp,lux,base_eCO2,base_TVOC,eCO2,TVOC);
					AHT10_TrigeMea();
//					printf("_|");
					SGP30_send_measure();
//					printf("_|");
					BH1750_TriggerMeasurement();
//					printf("_|");

					if(eCO2 >60000)
					{
						eCO2 = 400;
					}

					transmit_message((int)temp,(int)humi,eCO2,(int)lux,rnn_to_main()[0],env_score);
					pre_temp = rnn_to_main()[0];
  				env_score = score(fcn_to_main()[1]);//impor

						Run_ai();
//					printf("_|\n");
					count_led=0;
				}

		}
//		else if(htim->Instance==TIM7){ //定时器5中断 ms -> 消抖
//			if(HAL_GPIO_ReadPin(GPIOA,GPIO_PIN_6)==1 && check_light == 1)//
//			{
//				printf("turn on the light\n");
//				bright = 128;
//				RGB_WHITE_Change(Pixel_NUM,bright);
//				__HAL_TIM_SetCompare(&htim5, TIM_CHANNEL_2, bright*4);
//				check_light = 1;
//			}
//			if(HAL_GPIO_ReadPin(GPIOA,GPIO_PIN_6)==1 && check_light == 0)//
//			{
//				printf("turn off the light\n");
//				RGB_WHITE_Change(Pixel_NUM,0);
//				__HAL_TIM_SetCompare(&htim5, TIM_CHANNEL_2, 0);
//				check_light = 0;
//			}
//
//			if(HAL_GPIO_ReadPin(GPIOA,GPIO_PIN_6)==0)
//				check_light = 1-check_light;
//			flag_light = 1;
//			printf("7\n");
//			HAL_TIM_Base_Stop_IT(&htim7);
//		}

//		else if(htim->Instance==TIM12){
//			lv_task_handler();
//			lv_tick_inc(1);
//
//		}
}

//void HAL_RTCEx_WakeUpTimerEventCallback(RTC_HandleTypeDef *hrtc)
//{
//	printf("HELLO\n");
//	//HAL_RTC_GetTime(&hrtc,&time,RTC_FORMAT_BIN);
//	HAL_RTC_GetTime(hrtc,&time,RTC_FORMAT_BIN);
//	printf("Time:%02d:%02d:%02d\n",time.Hours,time.Minutes,time.Seconds);
//	now_time[0] = (int)time.Hours/10 + '0';
//	now_time[1] = (int)time.Hours%10 + '0';
//	now_time[2] = ':';
//	now_time[3] = (int)time.Minutes/10 + '0';
//	now_time[4] = (int)time.Minutes%10 + '0';
//	'\0';
//	printf(now_time);now_time[5] = ':'	;
//	now_time[6] = (int)time.Seconds/10 + '0';
//	now_time[7] = (int)time.Seconds%10 + '0';
//	now_time[8] =
//	printf("\n");
////	HAL_RTC_GetDate(&hrtc,&date,RTC_FORMAT_BIN);
////	printf("Date:20%02d-%02d-%02d",date.Year,date.Month,date.Date);
//}

void HAL_UART_RxCpltCallback(UART_HandleTypeDef *huart)
{

	if(huart->Instance == USART2)
	{
//		printf(rx_buf);
//		printf("---------------------------\n");

		if(rx_buf[0]=='0' && screens == 2)
		{
		//printf("0\n");
		//printf(rx_buf);
		loss_= get_loss_from_usart(rx_buf+1);
	//uint8_t buffer[12];
	//sprintf(buffer, "loss0=%d",loss_[0] );
	//printf((uint8_t*)buffer);
	//sprintf(buffer, "loss1=%d",loss_[1] );
	//printf((uint8_t*)buffer);
		//printf("loss%d",loss_[0]);
		if(loss_[0]!=0 || loss_[1]!=0)
		{
			pid_x(loss_[0]*20);
		  pid_y(-loss_[1]*20);
		}

		//printf("l_x:%d, l_y:%d\n",loss_[0],-loss_[1]);
		HAL_TIM_Base_Start_IT(&htim2);
		}

		else if(rx_buf[0] == 'w')
		{
		now_work = state_analyser.work_count_analyser(rx_buf);
//		sum_work += now_work;
//		if(sum_work<=0)
//			sum_work=0;

		now_game = state_analyser.game_count_analyser(rx_buf);
		sum_game += now_game;
//
//		float a=0;
//		if(now_work==1)
//			a=0.8;
//		else
//			a=0.2;
//
		tqdm_game += 0.5*(now_game+1) - you_mode*now_work;//“摸鱼值”
		if(sum_game<=0)
			sum_game=0;

		if(now_game==-1)//game的非线性回溯处理另算
			now_game=0;

		printf("rx_buf6: %c\n",rx_buf[6]);
		now_drink = state_analyser.drink_count_analyser(rx_buf);
		sum_water += now_drink;

		if(now_game <=0 && now_work <= 0)
		{
			delay++;
		}
		else
		{
			delay=0;
		}

		if(now_game == 1 && now_work == 1)
		{
			printf("yixinduoyong\n");//一心多用
		}

		if(now_game == 2*(1-GAME_TIME))//game_to_work的非线性回溯处理:
		{
			for(int i=1;i<GAME_TIME;i++)
			{
				tqdm_work -= state_tqdm.increase_game_work(sum_game+i);
			}
			now_game=0;
		}

		int a=1;
		float b=1;
		if(now_game == 1 && now_work == -1)
			a=0;
		if(now_work == -1)
			b=0.2;//stay
		printf("now:%d,%d\n",now_work,now_game);

		tqdm_work += a*b*now_work + (float)now_game*state_tqdm.increase_game_work(sum_game);//“理智值”
		tqdm_water += now_drink*RATE_DRINK - LOSS_WATER;//喝水值

		if(tqdm_work>=get_work_max())
			tqdm_work = get_work_max();
		if(tqdm_game>=get_game_max())
			tqdm_game = get_game_max();
		if(tqdm_water>=100)
			tqdm_water = 100;
		if(tqdm_work<=0)
			tqdm_work = 0;
		if(tqdm_game<=0)
			tqdm_game = 0;
		if(tqdm_water<=0)
			tqdm_water = 0;

		printf("tqdm_work: %.3f\n",tqdm_work);
		printf("tqdm_game: %.3f\n",tqdm_game);
		printf("tqdm_water: %.3f\n",tqdm_water);
		printf(rx_buf);
		printf("\n");
		if(screens == 2)
		{
			//状态条：
			float game_bar = state_tqdm.game_to_lvgl_bar(tqdm_game);
			float work_bar = state_tqdm.work_to_lvgl_bar(tqdm_work);

			if(game_bar<=0)
				game_bar = 0;
			if(work_bar<=0)
				work_bar = 0;

			printf("work_bar: %.3f\n",work_bar);
			printf("game_bar: %.3f\n",game_bar);

			lv_bar_set_value(guider_ui.screen_work_drink_bar,(int)tqdm_water,LV_ANIM_ON);

			lv_bar_set_value(guider_ui.screen_work_game_bar,(int)game_bar,LV_ANIM_ON);

			lv_bar_set_value(guider_ui.screen_work_work_bar,(int)work_bar,LV_ANIM_ON);

			char* work = float_to_string(work_bar);
			char* game = float_to_string(game_bar);
			char* water = float_to_string(tqdm_water);

//			printf(work);
//			printf(work);
			printf(water);
			printf("\n");

			lv_label_set_text(guider_ui.screen_work_label_work_bar, work);
			lv_label_set_text(guider_ui.screen_work_label_game_bar, game);
			lv_label_set_text(guider_ui.screen_work_label_drink_bar, water);
			free(work);free(game);free(water);

			if(game_bar >= 80)
			{
				lv_obj_set_style_bg_color(guider_ui.screen_work_game_bar, lv_color_hex(0xb22222), LV_PART_MAIN|LV_STATE_DEFAULT);
				lv_obj_set_style_bg_color(guider_ui.screen_work_game_bar, lv_color_hex(0xb22222), LV_PART_INDICATOR|LV_STATE_DEFAULT);
				if(over_game==0)
				{
					over_game = 20;
					char a[]= "over_game\n";
					HAL_UART_Transmit(&huart2,(unsigned char*)a,sizeof(a),10000);
					printf(a);
				}
				over_game--;
			}
			else
			{
				over_game=0;
				lv_obj_set_style_bg_color(guider_ui.screen_work_game_bar, lv_color_hex(0x2195f6), LV_PART_MAIN|LV_STATE_DEFAULT);
				lv_obj_set_style_bg_color(guider_ui.screen_work_game_bar, lv_color_hex(0x2195f6), LV_PART_INDICATOR|LV_STATE_DEFAULT);
			}

			if(work_bar <= 20)
			{
				lv_obj_set_style_bg_color(guider_ui.screen_work_work_bar, lv_color_hex(0xb22222), LV_PART_MAIN|LV_STATE_DEFAULT);
				lv_obj_set_style_bg_color(guider_ui.screen_work_work_bar, lv_color_hex(0xb22222), LV_PART_INDICATOR|LV_STATE_DEFAULT);
				if(over_work==0)
				{
					over_work=20;
					char a[]= "over_work\n";
					HAL_UART_Transmit(&huart2,(unsigned char*)a,sizeof(a),10000);
					printf(a);
				}
				over_work--;
			}
			else
			{
				over_work=0;
				lv_obj_set_style_bg_color(guider_ui.screen_work_work_bar, lv_color_hex(0x2195f6), LV_PART_MAIN|LV_STATE_DEFAULT);
				lv_obj_set_style_bg_color(guider_ui.screen_work_work_bar, lv_color_hex(0x2195f6), LV_PART_INDICATOR|LV_STATE_DEFAULT);
			}

			if(tqdm_water <= 20)
			{
				lv_obj_set_style_bg_color(guider_ui.screen_work_drink_bar, lv_color_hex(0xb22222), LV_PART_MAIN|LV_STATE_DEFAULT);
				lv_obj_set_style_bg_color(guider_ui.screen_work_drink_bar, lv_color_hex(0xb22222), LV_PART_INDICATOR|LV_STATE_DEFAULT);
				if(need_drink==0)
				{
					need_drink = 40;
					char a[]= "over_drink\n";
					HAL_UART_Transmit(&huart2,(unsigned char*)a,sizeof(a),10000);
					printf(a);
				}
				need_drink--;
			}
			else
			{
				need_drink=0;
				lv_obj_set_style_bg_color(guider_ui.screen_work_drink_bar, lv_color_hex(0x2195f6), LV_PART_MAIN|LV_STATE_DEFAULT);
				lv_obj_set_style_bg_color(guider_ui.screen_work_drink_bar, lv_color_hex(0x2195f6), LV_PART_INDICATOR|LV_STATE_DEFAULT);
			}

		}
		//总计数：叉//连续工作：勾
		if(state_counter.work_counter(rx_buf)==1 ||
   		 state_counter.book_counter(rx_buf)==1 ||
		   state_counter.compu_counter(rx_buf)==1 ||
		   state_counter.mouse_counter(rx_buf)==1)
		{
			//printf("1\n");
			all_work+=1;
		}
		else
		{
			//printf("0\n");
			all_work=0;
		}

		if(state_counter.game_counter(rx_buf)==1)
		{
			//printf("11\n");
			all_game+=1;
		}
		else
		{
			//printf("00\n");
			all_game=0;
		}
//		all_work+=state_counter.work_counter(rx_buf);
//		all_book+=state_counter.book_counter(rx_buf);
//		all_game+=state_counter.game_counter(rx_buf);
//		all_compu+=state_counter.compu_counter(rx_buf);
//		all_mouse+=state_counter.mouse_counter(rx_buf);
		all_water+=state_counter.water_counter(rx_buf);

		if(screens == 2)
		{
			char* work = int_to_string(all_work);
			char* game = int_to_string(all_game);
			char* water = int_to_string(all_water);

			//printf("w:%d,g:%d,w:%d\n",all_work,all_game,all_water);
			lv_label_set_text(guider_ui.screen_work_label_work_time, work);
			lv_label_set_text(guider_ui.screen_work_label_paly_time, game);
			lv_label_set_text(guider_ui.screen_work_label_drink_time, water);
		}

		}

		else if(rx_buf[0] == 'L')
		{
			if(rx_buf[1] == '0')
			{
				__HAL_TIM_SetCompare(&htim5, TIM_CHANNEL_2, 0);
				light_mode = 2;//close
			}
			else if(rx_buf[1] == '1')
			{
				light_mode = 1;//auto
			}
		}

		else if(rx_buf[0]=='t')
		{
			RTC_TimeTypeDef now;
			now.Hours = (rx_buf[1]-'0')*10 + rx_buf[2]-'0';
			now.Minutes = (rx_buf[4]-'0')*10 + rx_buf[5]-'0';
			now.Seconds = (rx_buf[7]-'0')*10 + rx_buf[8]-'0';
			HAL_RTC_SetTime(&hrtc,&now,RTC_FORMAT_BIN);
			RTC_TimeTypeDef tim;
			HAL_RTC_GetTime(&hrtc,&tim,RTC_FORMAT_BIN);
			printf("Time:%02d:%02d:%02d\n",tim.Hours,tim.Minutes,tim.Seconds);
		}

		HAL_UART_Receive_DMA(&huart2,rx_buf,11);
	}

}

// PWM DMA 完成回调函数
void HAL_TIM_PWM_PulseFinishedCallback(TIM_HandleTypeDef *htim)
{
	HAL_TIM_PWM_Stop_DMA(&htim4, TIM_CHANNEL_1);
}

/* USER CODE END PFP */

/* USER CODE BEGIN 0 */
void pwm_speed_1(int speed)//-3000 +3000
{
	speed=4500+speed;
	__HAL_TIM_SetCompare(&htim9, TIM_CHANNEL_2, speed);
}
void pwm_speed_2(int speed)//-3000 +3000
{
	speed=4500+speed;
	__HAL_TIM_SetCompare(&htim11, TIM_CHANNEL_1, speed);
}
void test(int i)
{
	__HAL_TIM_SetCompare(&htim9, TIM_CHANNEL_2, i);
}

/* USER CODE END 0 */

int main(void)
{

  /* MCU Configuration--------------------------------------------------------*/

  /* Reset of all peripherals, Initializes the Flash interface and the Systick. */
  HAL_Init();

  /* Configure the system clock */
  SystemClock_Config();

  /* Initialize all configured peripherals */
  MX_GPIO_Init();
  MX_DMA_Init();
  MX_USART1_UART_Init();
  MX_TIM9_Init();
  MX_TIM11_Init();
  MX_TIM2_Init();
  MX_USART2_UART_Init();
  MX_I2C2_Init();
  MX_TIM3_Init();
  MX_TIM4_Init();
  MX_TIM12_Init();
//  MX_FSMC_Init();
  MX_RTC_Init();
  MX_TIM5_Init();
  /* USER CODE BEGIN 2 */
	//__HAL_UART_ENABLE_IT(&huart2,UART_IT_IDLE);

	AI_Init_rnn();//AI初始化
	AI_Init_fcn();

	HAL_TIM_PWM_Start(&htim9,TIM_CHANNEL_2);
	HAL_TIM_PWM_Start(&htim11,TIM_CHANNEL_1);//舵机
	HAL_TIM_PWM_Start(&htim5,TIM_CHANNEL_2);//灯PWM

	HAL_TIM_Base_Start_IT(&htim3);//remember

	HAL_RTC_Init(&hrtc);

//	kalman_temp = Kalman_Init(0,0,0,0,0.2,3);
//	kalman_humi = Kalman_Init(0,0,0,0,0.2,3);
//	kalman_co2 = Kalman_Init(0,0,0,0,0.2,3);
//	kalman_lux = Kalman_Init(0,0,0,0,0.2,3);
//	kalman_pre_temp = Kalman_Init(0,0,0,0,0.2,3);
//	kalman_score = Kalman_Init(0,0,0,0,0.2,3);

//	HAL_UART_Transmit(&huart2,"ready",5,1000);
	HAL_UART_Receive_DMA(&huart2,rx_buf,11);

	work_detector_init();
	detector_init();

	measure_init();//measure initial

	pid_x(0);
	pid_y(0);
	printf("ready\n");

	lv_init();                          // lvgl初始化
  lv_port_disp_init();                // 显示设备初始化
  lv_port_indev_init();               // 输入设备初始化

	setup_ui(&guider_ui);
	events_init(&guider_ui);

	HAL_UART_Transmit(&huart2,"time\n",sizeof("time\n"),1000);
	HAL_Delay(5);
	HAL_RTC_GetTime(&hrtc,&time,RTC_FORMAT_BIN);
	printf("Time:%02d:%02d:%02d\n",time.Hours,time.Minutes,time.Seconds);
	HAL_RTC_GetDate(&hrtc,&date,RTC_FORMAT_BIN);
	printf("Date:20%02d-%02d-%02d",date.Year,date.Month,date.Date);

	//HAL_Delay(3000);
	//char a[]= "work_detector_start\n";
	//HAL_UART_Transmit(&huart2,(unsigned char*)a,sizeof(a),10000);
	//HAL_Delay(50000);
	//char b[]= "work_detector_stop\n";
	//HAL_UART_Transmit(&huart2,(unsigned char*)b,sizeof(b),10000);

//	RGB_WHITE_Change(Pixel_NUM,bright);
//	HAL_Delay(1000);
//	__HAL_TIM_SetCompare(&htim11, TIM_CHANNEL_1, 250-1);
//	__HAL_TIM_SetCompare(&htim9, TIM_CHANNEL_2, 250*6-1);
	HAL_Delay(100);
	__HAL_TIM_SetCompare(&htim11, TIM_CHANNEL_1, 250+MAX_POS_Y/2-1);
		HAL_Delay(100);
		__HAL_TIM_SetCompare(&htim11, TIM_CHANNEL_1, 250+MAX_POS_Y/2-20);
			HAL_Delay(100);
			__HAL_TIM_SetCompare(&htim11, TIM_CHANNEL_1, 250+MAX_POS_Y/2-40);
				HAL_Delay(100);
				__HAL_TIM_SetCompare(&htim11, TIM_CHANNEL_1, 250+MAX_POS_Y/2-60);
					HAL_Delay(100);
					__HAL_TIM_SetCompare(&htim11, TIM_CHANNEL_1, 250+MAX_POS_Y/2-80);
						HAL_Delay(100);
						__HAL_TIM_SetCompare(&htim11, TIM_CHANNEL_1, 250+MAX_POS_Y/2-100);
	__HAL_TIM_SetCompare(&htim9, TIM_CHANNEL_2, (250+MAX_POS_X/2)*6-1);
//	HAL_Delay(1000);
//	__HAL_TIM_SetCompare(&htim11, TIM_CHANNEL_1, 250+MAX_POS_Y-1);
//	__HAL_TIM_SetCompare(&htim9, TIM_CHANNEL_2, (250+MAX_POS_X)*6-1);
//	HAL_Delay(1000);
//	__HAL_TIM_SetCompare(&htim11, TIM_CHANNEL_1, 250+MAX_POS_Y/2-1);
//	__HAL_TIM_SetCompare(&htim9, TIM_CHANNEL_2, (250+MAX_POS_X/2)*6-1);
//   HAL_Delay(100);
  //uint16_t test[24*2+1] = {34,34,34,34,34,34,34,34,34,34,34,34,34,34,34,34,71,71,71,71,71,71,71,71,34,34,34,34,34,34,34,34,34,34,34,34,34,34,34,34,71,71,71,71,71,71,71,71,0};
	//int i=0;
	//pwm_speed_1(50);
//	HAL_UART_Transmit(&huart2,"",5,1000);
	//RGB_RED(Pixel_NUM);

	HAL_Delay(200);
  /* USER CODE END 2 */

  /* Infinite loop */
  while (1)
  {

    /* USER CODE BEGIN 3 */

	  lv_task_handler();
	  //HAL_TIM_PWM_Start_DMA(&htim4, TIM_CHANNEL_1, (uint16_t *)test,24*2+1);
		//RGB_BLUE(Pixel_NUM);

		/*AI
		AI_Run_rnn(rnnInData ,rnnOutData );
		AI_Run_fcn(fcnInData ,fcnOutData);
		*/
//		led_loading();
		//BH1750_Init();
		//BH1750_ReadLightIntensity(&lux);
		//start_measures();
		//HAL_Delay(700);

		//RGB_start();
		//HAL_Delay(1000);
		//HAL_Delay(10);
		//RGB_RED(Pixel_NUM);
		//RGB_BLACK(Pixel_NUM);
		//HAL_Delay(1000);

		//i=(i+20)%150;
		//pwm_speed_1(115);
		//pwm_speed_1(20);
		//printf("1");
		//pid_x(target_);
		//HAL_Delay(10);
//HAL_Delay(100);
		//printf("runing");
		//HAL_UART_Transmit(&huart2,"10\n",3,1000);

  }
  /* USER CODE END 3 */
}

void SystemClock_Config(void)
{
  RCC_OscInitTypeDef RCC_OscInitStruct = {0};
  RCC_ClkInitTypeDef RCC_ClkInitStruct = {0};

  /** Configure the main internal regulator output voltage
  */
  __HAL_RCC_PWR_CLK_ENABLE();
  __HAL_PWR_VOLTAGESCALING_CONFIG(PWR_REGULATOR_VOLTAGE_SCALE1);

  /** Initializes the RCC Oscillators according to the specified parameters
  * in the RCC_OscInitTypeDef structure.
  */
  RCC_OscInitStruct.OscillatorType = RCC_OSCILLATORTYPE_HSI|RCC_OSCILLATORTYPE_LSE;
  RCC_OscInitStruct.LSEState = RCC_LSE_ON;
  RCC_OscInitStruct.HSIState = RCC_HSI_ON;
  RCC_OscInitStruct.HSICalibrationValue = RCC_HSICALIBRATION_DEFAULT;
  RCC_OscInitStruct.PLL.PLLState = RCC_PLL_ON;
  RCC_OscInitStruct.PLL.PLLSource = RCC_PLLSOURCE_HSI;
  RCC_OscInitStruct.PLL.PLLM = 8;
  RCC_OscInitStruct.PLL.PLLN = 168;
  RCC_OscInitStruct.PLL.PLLP = RCC_PLLP_DIV2;
  RCC_OscInitStruct.PLL.PLLQ = 4;
  if (HAL_RCC_OscConfig(&RCC_OscInitStruct) != HAL_OK)
  {
    Error_Handler();
  }

  /** Initializes the CPU, AHB and APB buses clocks
  */
  RCC_ClkInitStruct.ClockType = RCC_CLOCKTYPE_HCLK|RCC_CLOCKTYPE_SYSCLK
                              |RCC_CLOCKTYPE_PCLK1|RCC_CLOCKTYPE_PCLK2;
  RCC_ClkInitStruct.SYSCLKSource = RCC_SYSCLKSOURCE_PLLCLK;
  RCC_ClkInitStruct.AHBCLKDivider = RCC_SYSCLK_DIV1;
  RCC_ClkInitStruct.APB1CLKDivider = RCC_HCLK_DIV4;
  RCC_ClkInitStruct.APB2CLKDivider = RCC_HCLK_DIV2;

  if (HAL_RCC_ClockConfig(&RCC_ClkInitStruct, FLASH_LATENCY_5) != HAL_OK)
  {
    Error_Handler();
  }
}

void Error_Handler(void)
{
  __disable_irq();
  while (1)
  {
  }
}
